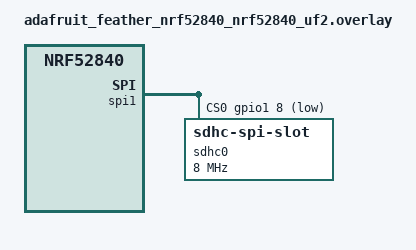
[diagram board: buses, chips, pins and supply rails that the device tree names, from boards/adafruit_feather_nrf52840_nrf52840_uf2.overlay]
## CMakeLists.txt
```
cmake_minimum_required(VERSION 3.20.0)
find_package(Zephyr REQUIRED HINTS $ENV{ZEPHYR_BASE})
project(bleatbox_updater)

# fw_image.c is shared with the main app and host tests.
target_sources(app PRIVATE
    src/main.c
    ${CMAKE_CURRENT_SOURCE_DIR}/../src/fw_image.c
)
target_include_directories(app PRIVATE ${CMAKE_CURRENT_SOURCE_DIR}/../src)
```

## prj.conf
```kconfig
# BleatBox second-stage updater.
#
# Minimal image the UF2 bootloader launches at 0x26000. It reads a staged
# firmware image from the SD card, writes it to the main_app region, then
# chain-loads the main app at 0x3e000.

# Link at code_partition (0x26000) — the board default chosen partition.
CONFIG_USE_DT_CODE_PARTITION=y

# Flash access to the main_app region.
CONFIG_FLASH=y
CONFIG_FLASH_MAP=y

# sys_reboot() — used to retry after a mid-flash failure.
CONFIG_REBOOT=y

# SD card + FAT, to read the staged image.
CONFIG_SPI=y
CONFIG_SDMMC_STACK=y
CONFIG_DISK_ACCESS=y
CONFIG_DISK_DRIVERS=y
CONFIG_FILE_SYSTEM=y
CONFIG_FAT_FILESYSTEM_ELM=y
CONFIG_FS_FATFS_LFN=y
CONFIG_FS_FATFS_LFN_MODE_HEAP=y

# LED status (no console in the field).
CONFIG_GPIO=y

# Keep it small: no Bluetooth, shell, or MPU stack guard (so no MPU state
# is left configured when we hand off to the app).
CONFIG_BT=n
CONFIG_SHELL=n
CONFIG_HW_STACK_PROTECTION=n

# Logging off — there's no console attached in the field anyway. Drop the
# USB CDC console entirely: the updater needs no console, and bringing up
# (then tearing down) USB before the handoff is just risk and flash.
CONFIG_LOG=n
CONFIG_CONSOLE=n
CONFIG_UART_CONSOLE=n
CONFIG_USB_DEVICE_STACK=n

CONFIG_HEAP_MEM_POOL_SIZE=8192
CONFIG_MAIN_STACK_SIZE=4096

# Emit a UF2 for standalone updater flashing; provisioning uses the
# sysbuild-merged image.
CONFIG_BUILD_OUTPUT_UF2=y
```

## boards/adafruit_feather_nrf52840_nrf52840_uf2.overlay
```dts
/*
 * Devicetree overlay for the BleatBox second-stage updater.
 *
 * Shares the OTA partition map with the main app and brings up just the
 * SPI1 + SD card needed to read the staged firmware image.  The board
 * default `zephyr,code-partition = &code_partition` is kept, so the
 * updater links at 0x26000 — where the UF2 bootloader hands off.
 */

/* OTA flash split: updater @0x26000 (code_partition), main_app @0x3e000. */
#include "../../common/bleatbox-partitions.dtsi"

/ {
	aliases {
		sdhc0 = &sdhc0;
	};
};

&spi1 {
	status = "okay";
	cs-gpios = <&gpio1 8 GPIO_ACTIVE_LOW>;

	sdhc0: sdhc@0 {
		compatible = "zephyr,sdhc-spi-slot";
		reg = <0>;
		spi-max-frequency = <8000000>;
		status = "okay";

		mmc {
			compatible = "zephyr,sdmmc-disk";
			disk-name = "SD";
			status = "okay";
		};
	};
};
```

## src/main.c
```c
/*
 * BleatBox second-stage updater.
 *
 * The Adafruit UF2 bootloader always launches the image at 0x26000 — this
 * updater.  On every boot it:
 *
 *   1. Mounts the SD card and looks for a staged image (FW_IMAGE_SD_PATH).
 *   2. Validates its 16-byte header + CRC over the payload.
 *   3. If valid, erases and rewrites the main_app flash region from the
 *      file, then re-reads flash and re-checks the CRC.
 *   4. Deletes the file and chain-loads the main app at 0x3e000.
 *
 * The design is power-loss-resumable: the staged file is deleted only
 * after a verified write, so an interrupted flash simply re-runs on the
 * next boot.  We never erase the main app until the file CRC checks out,
 * and if a write fails after erasing we reboot to retry rather than jump
 * into a half-written app.  Worst case, the UF2 bootloader + USB drag-drop
 * always recovers the box.
 *
 * The chain-load mirrors MCUboot's Cortex-M handoff and can only be
 * validated on hardware.
 */

#include <zephyr/kernel.h>
#include <zephyr/devicetree.h>
#include <zephyr/drivers/gpio.h>
#include <zephyr/fs/fs.h>
#include <zephyr/storage/disk_access.h>
#include <zephyr/storage/flash_map.h>
#include <zephyr/sys/reboot.h>
#include <ff.h>

#include <cmsis_core.h>
#include <hal/nrf_clock.h>
#include <hal/nrf_power.h>
#include <hal/nrf_usbd.h>

#include "fw_image.h"

/* Base address of the main application's vector table. */
#define MAIN_APP_ADDR DT_REG_ADDR(DT_NODELABEL(main_app))

/* nRF52840 internal flash: uniform 4 KB pages, 4-byte write granularity. */
#define FLASH_PAGE_SIZE   4096
#define FLASH_WRITE_ALIGN 4

#define CHUNK_SIZE 4096

#define SD_MOUNT_POINT "/SD:"

static uint8_t g_chunk[CHUNK_SIZE];

static FATFS g_fat_fs;
static struct fs_mount_t g_mount = {
    .type = FS_FATFS,
    .fs_data = &g_fat_fs,
    .mnt_point = SD_MOUNT_POINT,
};

#define LED0_NODE DT_ALIAS(led0)
static const struct gpio_dt_spec g_led = GPIO_DT_SPEC_GET_OR(LED0_NODE, gpios, {0});

/* ------------------------------------------------------------------ */
/* Chain-load                                                         */
/* ------------------------------------------------------------------ */

/*
 * Return the clock and USB hardware to its reset state before handing off.
 *
 * The app's USB controller starts the HFXO through the clock-control onoff
 * manager and then spins until the USBD signals ready — which only happens
 * once the HFXO is running.  After a chain-load the CLOCK/POWER peripherals
 * are still in the state we (and the bootloader's USB session) left them,
 * which stops that HFXO start from ever completing and hangs the app's
 * usbd_enable().  Clearing the interrupts, stopping the clocks, and clearing
 * the stale events lets the app's USB stack bring it all up from scratch.
 */
static void reset_usb_clocks(void)
{
    NRF_USBD->ENABLE = 0;

    NRF_CLOCK->INTENCLR = 0xFFFFFFFFUL;
    NRF_CLOCK->TASKS_HFCLKSTOP = 1;
    NRF_CLOCK->TASKS_LFCLKSTOP = 1;
    NRF_CLOCK->EVENTS_HFCLKSTARTED = 0;
    NRF_CLOCK->EVENTS_LFCLKSTARTED = 0;

    NRF_POWER->INTENCLR = 0xFFFFFFFFUL;
    NRF_POWER->EVENTS_USBDETECTED = 0;
    NRF_POWER->EVENTS_USBPWRRDY = 0;
    NRF_POWER->EVENTS_USBREMOVED = 0;
}

static void jump_to_app(uint32_t addr)
{
    /* The app's vector table sits at the start of its flash image: word 0 is
     * the initial MSP, word 1 the reset handler.  Read them through this
     * pointer (held in a register), not into stack locals — after __set_MSP
     * this function's stack is abandoned. */
    const struct arm_vector_table {
        uint32_t msp;
        uint32_t reset;
    } *vt = (const struct arm_vector_table *)(uintptr_t)addr;

    /*
     * Silence every NVIC interrupt and the kernel tick so none fire into the
     * app before it re-initializes (mirrors MCUboot's cleanup).  nRF52 drives
     * the system clock from the RTC — an NVIC peripheral, not the Cortex
     * SysTick — so clearing the NVIC is what actually stops the tick.
     *
     * Deliberately do NOT set PRIMASK: Zephyr on Cortex-M locks interrupts via
     * BASEPRI and never clears PRIMASK at startup, so masking interrupts
     * globally here would hang the app at its first k_msleep().
     */
    for (size_t i = 0; i < ARRAY_SIZE(NVIC->ICER); i++) {
        NVIC->ICER[i] = 0xFFFFFFFFu;
        NVIC->ICPR[i] = 0xFFFFFFFFu;
    }
    SysTick->CTRL = 0;

#if defined(CONFIG_ARM_MPU)
    /* Disable the MPU: the updater's regions are still active, and they would
     * fault the app during its early init, before it configures its own
     * (this is the step MCUboot performs as z_arm_clear_arm_mpu_config()). */
    MPU->CTRL = 0;
    __DSB();
    __ISB();
#endif

    /* Hand the app clean clock/USB hardware (see reset_usb_clocks). */
    reset_usb_clocks();

    /* Point the vector table at the app and synchronize. */
    SCB->VTOR = addr;
    __DSB();
    __ISB();

    /* Load the app's stack pointer (on the main stack) and branch to its
     * reset handler. */
    __set_MSP(vt->msp);
    __set_CONTROL(0);
    __ISB();

    ((void (*)(void))vt->reset)();

    /* Unreachable. */
    for (;;) {
    }
}

static void boot_main_app(void)
{
    jump_to_app(MAIN_APP_ADDR);
}

/* ------------------------------------------------------------------ */
/* SD card                                                            */
/* ------------------------------------------------------------------ */

static int mount_sd(void)
{
    static const char *disk = "SD";

    if (disk_access_init(disk) != 0) {
        return -EIO;
    }

    g_mount.storage_dev = (void *)disk;
    return fs_mount(&g_mount);
}

/* ------------------------------------------------------------------ */
/* Apply a staged image                                               */
/* ------------------------------------------------------------------ */

/* Stream the payload (starting at file offset FW_IMAGE_HEADER_SIZE) through
 * the CRC, without writing flash.  Returns the final CRC or a negative
 * errno on read error. */
static int64_t file_payload_crc(struct fs_file_t *f, uint32_t len)
{
    int ret = fs_seek(f, FW_IMAGE_HEADER_SIZE, FS_SEEK_SET);
    if (ret) {
        return ret;
    }

    uint32_t crc = FW_CRC32_INIT;
    uint32_t remaining = len;
    while (remaining > 0) {
        size_t want = MIN(remaining, sizeof(g_chunk));
        ssize_t got = fs_read(f, g_chunk, want);
        if (got <= 0) {
            return got < 0 ? got : -EIO;
        }
        crc = fw_crc32_update(crc, g_chunk, got);
        remaining -= got;
    }

    return (int64_t)(uint32_t)fw_crc32_final(crc);
}

/* Erase enough of main_app for the payload, then stream the payload from
 * the file into flash.  The final partial chunk is padded to the write
 * alignment with 0xFF. */
static int flash_payload(const struct flash_area *fa, struct fs_file_t *f,
                         uint32_t len)
{
    uint32_t erase_len = ROUND_UP(len, FLASH_PAGE_SIZE);
    int ret = flash_area_erase(fa, 0, erase_len);
    if (ret) {
        return ret;
    }

    ret = fs_seek(f, FW_IMAGE_HEADER_SIZE, FS_SEEK_SET);
    if (ret) {
        return ret;
    }

    uint32_t off = 0;
    uint32_t remaining = len;
    while (remaining > 0) {
        size_t want = MIN(remaining, sizeof(g_chunk));
        ssize_t got = fs_read(f, g_chunk, want);
        if (got <= 0) {
            return got < 0 ? got : -EIO;
        }

        size_t wlen = ROUND_UP(got, FLASH_WRITE_ALIGN);
        for (size_t i = got; i < wlen; i++) {
            g_chunk[i] = 0xFF;
        }

        ret = flash_area_write(fa, off, g_chunk, wlen);
        if (ret) {
            return ret;
        }

        off += got;
        remaining -= got;
    }

    return 0;
}

/* Re-read the just-written region from flash and CRC it. */
static int64_t flash_region_crc(const struct flash_area *fa, uint32_t len)
{
    uint32_t crc = FW_CRC32_INIT;
    uint32_t off = 0;
    uint32_t remaining = len;
    while (remaining > 0) {
        size_t want = MIN(remaining, sizeof(g_chunk));
        int ret = flash_area_read(fa, off, g_chunk, want);
        if (ret) {
            return ret;
        }
        crc = fw_crc32_update(crc, g_chunk, want);
        off += want;
        remaining -= want;
    }

    return (int64_t)(uint32_t)fw_crc32_final(crc);
}

/*
 * Apply the staged image if present and valid.  Returns:
 *   0       nothing to do (no file / invalid file) — boot the app as-is
 *   1       image applied and verified — boot the new app
 *  <0       erased-then-failed; caller must reboot to retry, NOT jump
 */
static int apply_staged_image(void)
{
    struct fs_file_t f;
    fs_file_t_init(&f);

    if (fs_open(&f, FW_IMAGE_SD_PATH, FS_O_READ) != 0) {
        return 0; /* normal boot — no update staged */
    }

    uint8_t raw[FW_IMAGE_HEADER_SIZE];
    struct fw_image_header hdr;
    ssize_t got = fs_read(&f, raw, sizeof(raw));
    if (got != (ssize_t)sizeof(raw)) {
        fs_close(&f);
        return 0;
    }
    fw_image_header_parse(raw, &hdr);

    const struct flash_area *fa;
    if (flash_area_open(PARTITION_ID(main_app), &fa) != 0) {
        fs_close(&f);
        return 0;
    }

    /* Validate header bounds (magic + length) before reading the payload. */
    if (hdr.magic != FW_IMAGE_MAGIC ||
        hdr.payload_len == 0 || hdr.payload_len > fa->fa_size) {
        flash_area_close(fa);
        fs_close(&f);
        return 0;
    }

    /* Validate the file CRC BEFORE erasing — never destroy the running app
     * for a corrupt or half-uploaded image. */
    int64_t file_crc = file_payload_crc(&f, hdr.payload_len);
    if (file_crc < 0 || (uint32_t)file_crc != hdr.crc32) {
        flash_area_close(fa);
        fs_close(&f);
        return 0;
    }

    /* Commit point: from here the old app may be erased. */
    if (g_led.port) {
        gpio_pin_set_dt(&g_led, 1);
    }

    int ret = flash_payload(fa, &f, hdr.payload_len);
    if (ret == 0) {
        int64_t written_crc = flash_region_crc(fa, hdr.payload_len);
        if (written_crc < 0 || (uint32_t)written_crc != hdr.crc32) {
            ret = -EIO;
        }
    }

    flash_area_close(fa);
    fs_close(&f);

    if (g_led.port) {
        gpio_pin_set_dt(&g_led, 0);
    }

    if (ret) {
        return ret; /* erased but not verified — caller reboots to retry */
    }

    /* Verified: drop the staged file so we don't re-flash on next boot. */
    fs_unlink(FW_IMAGE_SD_PATH);
    return 1;
}

int main(void)
{
    if (g_led.port) {
        gpio_pin_configure_dt(&g_led, GPIO_OUTPUT_INACTIVE);
    }

    if (mount_sd() == 0) {
        int rc = apply_staged_image();
        if (rc < 0) {
            /* Mid-flash failure: the staged file is still on SD and the
             * app is not yet whole.  Reboot to retry from scratch. */
            fs_unmount(&g_mount);
            sys_reboot(SYS_REBOOT_COLD);
        }
        fs_unmount(&g_mount);
    }

    boot_main_app();
    return 0;
}
```
